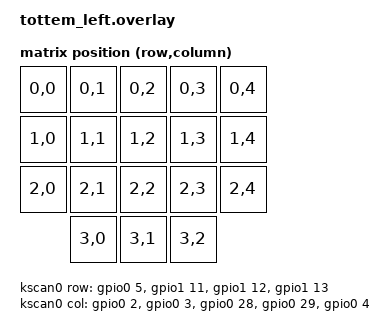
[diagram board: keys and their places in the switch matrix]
#include <dt-bindings/zmk/matrix_transform.h>

/ {
    chosen {
        zmk,kscan = &kscan0;
        zmk,matrix-transform = &default_transform;
    };

    /*
     * Physical layout of the LEFT half (18 keys):
     *
     *   R4:  S21  S24  S27  S30  S33      (top finger row)
     *   R5:  S20  S23  S26  S29  S32      (home row)
     *   R6:  S19  S22  S25  S28  S31      (bottom row)
     *   R7:  S34  S35  S36                (3 thumbs)
     *
     * Column order in this transform = C5 C6 C7 C8 C9
     * Row order                      = R4 R5 R6 R7
     * RC(row, col) indexes into the row-gpios / col-gpios arrays below.
     */
    default_transform: keymap_transform_0 {
        compatible = "zmk,matrix-transform";
        columns = <5>;
        rows = <4>;
        map = <
            RC(0,0) RC(0,1) RC(0,2) RC(0,3) RC(0,4)
            RC(1,0) RC(1,1) RC(1,2) RC(1,3) RC(1,4)
            RC(2,0) RC(2,1) RC(2,2) RC(2,3) RC(2,4)
                    RC(3,0) RC(3,1) RC(3,2)
        >;
    };

    kscan0: kscan {
        compatible = "zmk,kscan-gpio-matrix";
        diode-direction = "col2row";

        /* Columns C5..C9 -> driven outputs */
        col-gpios
            = <&gpio0  2 GPIO_ACTIVE_HIGH>   /* C5 = P0.02 (D0) */
            , <&gpio0  3 GPIO_ACTIVE_HIGH>   /* C6 = P0.03 (D1) */
            , <&gpio0 28 GPIO_ACTIVE_HIGH>   /* C7 = P0.28 (D2) */
            , <&gpio0 29 GPIO_ACTIVE_HIGH>   /* C8 = P0.29 (D3) */
            , <&gpio0  4 GPIO_ACTIVE_HIGH>   /* C9 = P0.04 (D4) */
            ;

        /* Rows R4..R7 -> read inputs (pulled down) */
        row-gpios
            = <&gpio0  5 (GPIO_ACTIVE_HIGH | GPIO_PULL_DOWN)>   /* R4 = P0.05 (D5)  */
            , <&gpio1 11 (GPIO_ACTIVE_HIGH | GPIO_PULL_DOWN)>   /* R5 = P1.11 (D6)  */
            , <&gpio1 12 (GPIO_ACTIVE_HIGH | GPIO_PULL_DOWN)>   /* R6 = P1.12 (D10) */
            , <&gpio1 13 (GPIO_ACTIVE_HIGH | GPIO_PULL_DOWN)>   /* R7 = P1.13 (D9)  */
            ;
    };
};
